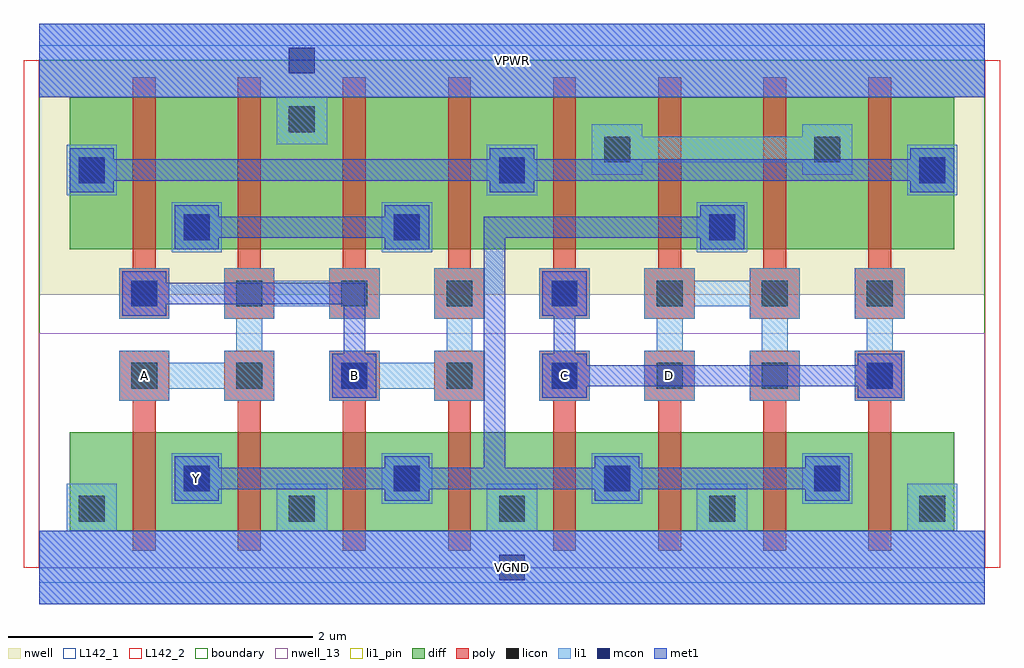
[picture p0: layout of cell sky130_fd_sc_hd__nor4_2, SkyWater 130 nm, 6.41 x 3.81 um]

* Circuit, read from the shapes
.subckt sky130_fd_sc_hd__nor4_2 A B C D VGND VPWR Y
XM1 Y A VGND VSUBS sky130_fd_pr__nfet_01v8 w=0.65 l=0.15 m=2
XM2 Y B VGND VSUBS sky130_fd_pr__nfet_01v8 w=0.65 l=0.15 m=2
XM3 Y C VGND VSUBS sky130_fd_pr__nfet_01v8 w=0.65 l=0.15 m=2
XM4 VGND D Y VSUBS sky130_fd_pr__nfet_01v8 w=0.65 l=0.15 m=2
XM5 n1 B n2 n3 sky130_fd_pr__pfet_01v8 w=1 l=0.15 m=2
XM6 VPWR A n1 n3 sky130_fd_pr__pfet_01v8 w=1 l=0.15 m=2
XM7 n4 C n2 n3 sky130_fd_pr__pfet_01v8 w=1 l=0.15 m=2
XM8 Y D n4 n3 sky130_fd_pr__pfet_01v8 w=1 l=0.15 m=2
.ends

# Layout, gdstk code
import gdstk
lib = gdstk.Library(unit=1e-6, precision=1e-09)
def R(c, l, rs):  # rectangles x0, y0, x1, y1
    for r in rs: c.add(gdstk.rectangle(r[:2], r[2:], *l))
def A(c, l, x, y, w, h, nx, ny, dx, dy):  # array of equal rectangles
    R(c, l, [(x+i*dx, y+j*dy, x+i*dx+w, y+j*dy+h) for i in range(nx) for j in range(ny)])
def P(c, l, *ps):  # polygons
    for p in ps: c.add(gdstk.Polygon(p, *l))
nwell_13 = (64, 13)
nwell = (64, 20)
diff = (65, 20)
poly = (66, 20)
licon = (66, 44)
li1_pin = (67, 16)
li1 = (67, 20)
mcon = (67, 44)
met1 = (68, 20)
L142_1 = (142, 1)
L142_2 = (142, 2)
boundary = (235, 4)

sky130_fd_sc_hd__nor4_2 = lib.new_cell('sky130_fd_sc_hd__nor4_2')
R(sky130_fd_sc_hd__nor4_2, nwell_13, [(0,0,6.21,1.54)])
R(sky130_fd_sc_hd__nor4_2, nwell, [(0,1.79,6.21,3.33)])
A(sky130_fd_sc_hd__nor4_2, diff, 0.615, 0.24, 0.69, 0.65, 7, 1, 0.69, 0)
A(sky130_fd_sc_hd__nor4_2, diff, 0.615, 2.09, 0.69, 1, 7, 1, 0.69, 0)
R(sky130_fd_sc_hd__nor4_2, diff, [(0.2,0.24,6.01,0.89), (0.2,0.24,0.615,0.89), (5.445,0.24,6.01,0.89), (0.2,2.09,6.01,3.09), (0.2,2.09,0.615,3.09), (5.445,2.09,6.01,3.09)])
P(sky130_fd_sc_hd__nor4_2, poly, [(1.995,0.11),(1.995,1.095),(1.905,1.095),(1.905,1.425),(2.235,1.425),(2.235,1.095),(2.145,1.095),(2.145,0.11)],
  [(2.685,0.11),(2.685,1.095),(2.595,1.095),(2.595,1.425),(2.925,1.425),(2.925,1.095),(2.835,1.095),(2.835,0.11)],
  [(0.525,1.635),(0.525,1.965),(0.615,1.965),(0.615,3.22),(0.765,3.22),(0.765,1.965),(0.855,1.965),(0.855,1.635)],
  [(2.595,1.635),(2.595,1.965),(2.685,1.965),(2.685,3.22),(2.835,3.22),(2.835,1.965),(2.925,1.965),(2.925,1.635)],
  [(4.065,0.11),(4.065,1.095),(3.975,1.095),(3.975,1.425),(4.305,1.425),(4.305,1.095),(4.215,1.095),(4.215,0.11)],
  [(4.755,0.11),(4.755,1.095),(4.665,1.095),(4.665,1.425),(4.995,1.425),(4.995,1.095),(4.905,1.095),(4.905,0.11)],
  [(3.975,1.635),(3.975,1.965),(4.065,1.965),(4.065,3.22),(4.215,3.22),(4.215,1.965),(4.305,1.965),(4.305,1.635)],
  [(4.665,1.635),(4.665,1.965),(4.755,1.965),(4.755,3.22),(4.905,3.22),(4.905,1.965),(4.995,1.965),(4.995,1.635)],
  [(3.375,0.11),(3.375,1.095),(3.285,1.095),(3.285,1.425),(3.615,1.425),(3.615,1.095),(3.525,1.095),(3.525,0.11)],
  [(5.445,0.11),(5.445,1.095),(5.355,1.095),(5.355,1.425),(5.685,1.425),(5.685,1.095),(5.595,1.095),(5.595,0.11)],
  [(3.285,1.635),(3.285,1.965),(3.375,1.965),(3.375,3.22),(3.525,3.22),(3.525,1.965),(3.615,1.965),(3.615,1.635)],
  [(5.355,1.635),(5.355,1.965),(5.445,1.965),(5.445,3.22),(5.595,3.22),(5.595,1.965),(5.685,1.965),(5.685,1.635)],
  [(0.615,0.11),(0.615,1.095),(0.525,1.095),(0.525,1.425),(0.855,1.425),(0.855,1.095),(0.765,1.095),(0.765,0.11)],
  [(1.305,0.11),(1.305,1.095),(1.215,1.095),(1.215,1.425),(1.545,1.425),(1.545,1.095),(1.455,1.095),(1.455,0.11)],
  [(1.215,1.635),(1.215,1.965),(1.305,1.965),(1.305,3.22),(1.455,3.22),(1.455,1.965),(1.545,1.965),(1.545,1.635)],
  [(1.905,1.635),(1.905,1.965),(1.995,1.965),(1.995,3.22),(2.145,3.22),(2.145,1.965),(2.235,1.965),(2.235,1.635)])
A(sky130_fd_sc_hd__nor4_2, licon, 0.26, 0.3, 0.17, 0.17, 5, 1, 1.38, 0)
A(sky130_fd_sc_hd__nor4_2, licon, 0.95, 0.5, 0.17, 0.17, 4, 1, 1.38, 0)
A(sky130_fd_sc_hd__nor4_2, licon, 0.605, 1.175, 0.17, 0.17, 8, 2, 0.69, 0.54)
A(sky130_fd_sc_hd__nor4_2, licon, 0.26, 2.525, 0.17, 0.17, 3, 1, 2.76, 0)
R(sky130_fd_sc_hd__nor4_2, licon, [(0.95,2.15,1.12,2.32), (2.33,2.15,2.5,2.32), (4.4,2.15,4.57,2.32), (3.71,2.66,3.88,2.83), (5.09,2.66,5.26,2.83), (1.64,2.86,1.81,3.03)])
R(sky130_fd_sc_hd__nor4_2, li1_pin, [(0,-0.24,6.21,0.24), (0.87,0.42,1.2,0.75), (3.285,1.095,3.615,1.425), (0,3.09,6.21,3.57)])
P(sky130_fd_sc_hd__nor4_2, li1_pin, [(1.905,1.095),(1.905,1.425),(2.235,1.425),(2.235,1.345),(2.595,1.345),(2.595,1.425),(2.675,1.425),(2.675,1.635),(2.595,1.635),(2.595,1.965),(2.925,1.965),(2.925,1.635),(2.845,1.635),(2.845,1.425),(2.925,1.425),(2.925,1.095),(2.595,1.095),(2.595,1.175),(2.235,1.175),(2.235,1.095)],
  [(3.975,1.095),(3.975,1.425),(4.055,1.425),(4.055,1.635),(3.975,1.635),(3.975,1.965),(4.305,1.965),(4.305,1.885),(4.665,1.885),(4.665,1.965),(4.995,1.965),(4.995,1.635),(4.915,1.635),(4.915,1.425),(4.995,1.425),(4.995,1.095),(4.665,1.095),(4.665,1.425),(4.745,1.425),(4.745,1.635),(4.665,1.635),(4.665,1.715),(4.305,1.715),(4.305,1.635),(4.225,1.635),(4.225,1.425),(4.305,1.425),(4.305,1.095)],
  [(0.525,1.095),(0.525,1.425),(0.855,1.425),(0.855,1.345),(1.215,1.345),(1.215,1.425),(1.295,1.425),(1.295,1.635),(1.215,1.635),(1.215,1.965),(1.545,1.965),(1.545,1.885),(1.905,1.885),(1.905,1.965),(2.235,1.965),(2.235,1.635),(1.905,1.635),(1.905,1.715),(1.545,1.715),(1.545,1.635),(1.465,1.635),(1.465,1.425),(1.545,1.425),(1.545,1.095),(1.215,1.095),(1.215,1.175),(0.855,1.175),(0.855,1.095)])
A(sky130_fd_sc_hd__nor4_2, li1, 0.87, 0.42, 0.33, 0.33, 4, 1, 1.38, 0)
A(sky130_fd_sc_hd__nor4_2, li1, 0.18, 2.445, 0.33, 0.33, 3, 1, 2.76, 0)
R(sky130_fd_sc_hd__nor4_2, li1, [(3.285,1.095,3.615,1.425), (0.525,1.635,0.855,1.965), (3.285,1.635,3.615,1.965), (0.87,2.07,1.2,2.4), (2.25,2.07,2.58,2.4), (4.32,2.07,4.65,2.4)])
P(sky130_fd_sc_hd__nor4_2, li1, [(1.905,1.095),(1.905,1.425),(2.235,1.425),(2.235,1.345),(2.595,1.345),(2.595,1.425),(2.675,1.425),(2.675,1.635),(2.595,1.635),(2.595,1.965),(2.925,1.965),(2.925,1.635),(2.845,1.635),(2.845,1.425),(2.925,1.425),(2.925,1.095),(2.595,1.095),(2.595,1.175),(2.235,1.175),(2.235,1.095)],
  [(3.975,1.095),(3.975,1.425),(4.055,1.425),(4.055,1.635),(3.975,1.635),(3.975,1.965),(4.305,1.965),(4.305,1.885),(4.665,1.885),(4.665,1.965),(4.995,1.965),(4.995,1.635),(4.915,1.635),(4.915,1.425),(4.995,1.425),(4.995,1.095),(4.665,1.095),(4.665,1.425),(4.745,1.425),(4.745,1.635),(4.665,1.635),(4.665,1.715),(4.305,1.715),(4.305,1.635),(4.225,1.635),(4.225,1.425),(4.305,1.425),(4.305,1.095)],
  [(1.56,2.78),(1.56,3.09),(0,3.09),(0,3.57),(6.21,3.57),(6.21,3.09),(1.89,3.09),(1.89,2.78)],
  [(3.63,2.58),(3.63,2.91),(3.96,2.91),(3.96,2.83),(5.01,2.83),(5.01,2.91),(5.34,2.91),(5.34,2.58),(5.01,2.58),(5.01,2.66),(3.96,2.66),(3.96,2.58)],
  [(5.355,1.095),(5.355,1.425),(5.435,1.425),(5.435,1.635),(5.355,1.635),(5.355,1.965),(5.685,1.965),(5.685,1.635),(5.605,1.635),(5.605,1.425),(5.685,1.425),(5.685,1.095)],
  [(0,-0.24),(0,0.24),(0.18,0.24),(0.18,0.55),(0.51,0.55),(0.51,0.24),(1.56,0.24),(1.56,0.55),(1.89,0.55),(1.89,0.24),(2.94,0.24),(2.94,0.55),(3.27,0.55),(3.27,0.24),(4.32,0.24),(4.32,0.55),(4.65,0.55),(4.65,0.24),(5.7,0.24),(5.7,0.55),(6.03,0.55),(6.03,0.24),(6.21,0.24),(6.21,-0.24)],
  [(0.525,1.095),(0.525,1.425),(0.855,1.425),(0.855,1.345),(1.215,1.345),(1.215,1.425),(1.295,1.425),(1.295,1.635),(1.215,1.635),(1.215,1.965),(1.545,1.965),(1.545,1.885),(1.905,1.885),(1.905,1.965),(2.235,1.965),(2.235,1.635),(1.905,1.635),(1.905,1.715),(1.545,1.715),(1.545,1.635),(1.465,1.635),(1.465,1.425),(1.545,1.425),(1.545,1.095),(1.215,1.095),(1.215,1.175),(0.855,1.175),(0.855,1.095)])
A(sky130_fd_sc_hd__nor4_2, mcon, 0.95, 0.5, 0.17, 0.17, 4, 1, 1.38, 0)
A(sky130_fd_sc_hd__nor4_2, mcon, 0.26, 2.525, 0.17, 0.17, 3, 1, 2.76, 0)
R(sky130_fd_sc_hd__nor4_2, mcon, [(3.02,-0.085,3.19,0.085), (1.985,1.175,2.155,1.345), (3.365,1.175,3.535,1.345), (5.435,1.175,5.605,1.345), (0.605,1.715,0.775,1.885), (3.365,1.715,3.535,1.885), (0.95,2.15,1.12,2.32), (2.33,2.15,2.5,2.32), (4.4,2.15,4.57,2.32), (1.64,3.245,1.81,3.415)])
R(sky130_fd_sc_hd__nor4_2, met1, [(0,-0.24,6.21,0.24), (0,3.09,6.21,3.57)])
P(sky130_fd_sc_hd__nor4_2, met1, [(1.925,1.115),(1.925,1.405),(2,1.405),(2,1.73),(0.835,1.73),(0.835,1.655),(0.545,1.655),(0.545,1.945),(0.835,1.945),(0.835,1.87),(2.14,1.87),(2.14,1.405),(2.215,1.405),(2.215,1.115)],
  [(0.89,0.44),(0.89,0.73),(1.18,0.73),(1.18,0.655),(2.27,0.655),(2.27,0.73),(2.56,0.73),(2.56,0.655),(2.92,0.655),(2.92,2.305),(4.34,2.305),(4.34,2.38),(4.63,2.38),(4.63,2.09),(4.34,2.09),(4.34,2.165),(3.06,2.165),(3.06,0.655),(3.65,0.655),(3.65,0.73),(3.94,0.73),(3.94,0.655),(5.03,0.655),(5.03,0.73),(5.32,0.73),(5.32,0.44),(5.03,0.44),(5.03,0.515),(3.94,0.515),(3.94,0.44),(3.65,0.44),(3.65,0.515),(2.56,0.515),(2.56,0.44),(2.27,0.44),(2.27,0.515),(1.18,0.515),(1.18,0.44)],
  [(0.89,2.09),(0.89,2.38),(1.18,2.38),(1.18,2.305),(2.27,2.305),(2.27,2.38),(2.56,2.38),(2.56,2.09),(2.27,2.09),(2.27,2.165),(1.18,2.165),(1.18,2.09)],
  [(3.305,1.115),(3.305,1.405),(3.38,1.405),(3.38,1.655),(3.305,1.655),(3.305,1.945),(3.595,1.945),(3.595,1.655),(3.52,1.655),(3.52,1.405),(3.595,1.405),(3.595,1.33),(5.375,1.33),(5.375,1.405),(5.665,1.405),(5.665,1.115),(5.375,1.115),(5.375,1.19),(3.595,1.19),(3.595,1.115)],
  [(0.2,2.465),(0.2,2.755),(0.49,2.755),(0.49,2.68),(2.96,2.68),(2.96,2.755),(3.25,2.755),(3.25,2.68),(5.72,2.68),(5.72,2.755),(6.01,2.755),(6.01,2.465),(5.72,2.465),(5.72,2.54),(3.25,2.54),(3.25,2.465),(2.96,2.465),(2.96,2.54),(0.49,2.54),(0.49,2.465)])
R(sky130_fd_sc_hd__nor4_2, L142_1, [(0,-0.1,6.21,0), (0,3.33,6.21,3.43)])
R(sky130_fd_sc_hd__nor4_2, L142_2, [(-0.1,0,0,3.33), (6.21,0,6.31,3.33)])
R(sky130_fd_sc_hd__nor4_2, boundary, [(0,0,6.21,3.33)])
sky130_fd_sc_hd__nor4_2.add(gdstk.Label('Y', (1.035,0.585), layer=67, texttype=5))
sky130_fd_sc_hd__nor4_2.add(gdstk.Label('C', (3.45,1.26), layer=67, texttype=5))
sky130_fd_sc_hd__nor4_2.add(gdstk.Label('B', (2.07,1.26), layer=67, texttype=5))
sky130_fd_sc_hd__nor4_2.add(gdstk.Label('D', (4.14,1.26), layer=67, texttype=5))
sky130_fd_sc_hd__nor4_2.add(gdstk.Label('A', (0.69,1.26), layer=67, texttype=5))
sky130_fd_sc_hd__nor4_2.add(gdstk.Label('VGND', (3.105,0), layer=67, texttype=5))
sky130_fd_sc_hd__nor4_2.add(gdstk.Label('VPWR', (3.105,3.33), layer=67, texttype=5))
sky130_fd_sc_hd__nor4_2.add(gdstk.Label('VGND', (3.105,0), layer=68, texttype=5))
sky130_fd_sc_hd__nor4_2.add(gdstk.Label('VPWR', (3.105,3.33), layer=68, texttype=5))

lib.write_gds('sky130_fd_sc_hd__nor4_2.gds')
